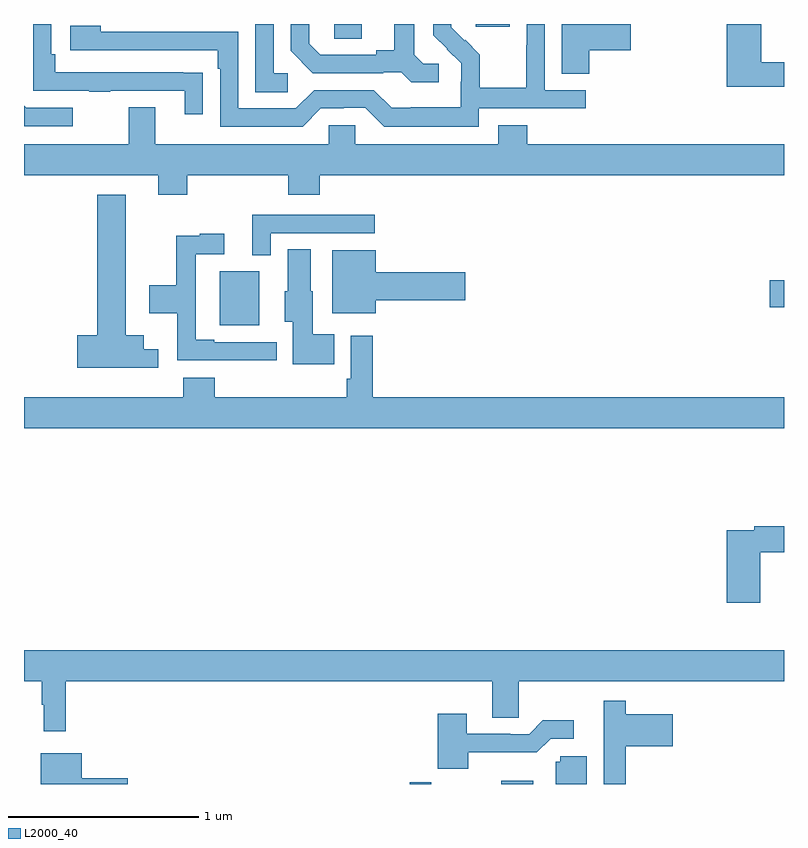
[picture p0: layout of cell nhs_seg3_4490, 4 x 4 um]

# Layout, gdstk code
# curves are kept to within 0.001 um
import gdstk
lib = gdstk.Library(unit=1e-6, precision=1e-09)
def R(c, l, rs):  # rectangles x0, y0, x1, y1
    for r in rs: c.add(gdstk.rectangle(r[:2], r[2:], *l))
def P(c, l, *ps):  # polygons
    for p in ps: c.add(gdstk.Polygon(p, *l))
L2000_40 = (2000, 40)

nhs_seg3_4490 = lib.new_cell('nhs_seg3_4490')
R(nhs_seg3_4490, L2000_40, [(353.031,676.4,353.143,676.408), (353.513,676.4,353.68,676.417), (352.031,678.815,352.237,679.099), (354.924,678.91,355,679.052), (352.632,680.323,352.777,680.4), (353.378,680.385,353.557,680.4)])
P(nhs_seg3_4490, L2000_40, [(353.394,679.956),(353.956,679.956),(353.956,680.052),(353.742,680.052),(353.742,680.4),(353.646,680.4),(353.646,680.288),(353.644,680.288),(353.644,680.065),(353.399,680.065),(353.399,680.239),(353.322,680.316),(353.319,680.313),(353.249,680.384),(353.249,680.4),(353.154,680.4),(353.154,680.342),(353.3,680.194),(353.3,680.097),(353.298,680.097),(353.298,679.963),(353.035,679.963),(353.035,679.959),(352.935,679.959),(352.842,680.052),(352.527,680.052),(352.431,679.956),(352.128,679.956),(352.128,680.358),(351.404,680.358),(351.404,680.392),(351.243,680.392),(351.243,680.262),(352.019,680.262),(352.019,680.165),(352.032,680.165),(352.032,679.86),(352.467,679.86),(352.563,679.956),(352.682,679.956),(352.682,679.959),(352.797,679.959),(352.897,679.859),(353.394,679.859)],
  [(352.387,680.142),(352.314,680.142),(352.314,680.4),(352.218,680.4),(352.218,680.041),(352.387,680.041)],
  [(351.941,680.144),(351.839,680.144),(351.839,680.145),(351.164,680.145),(351.164,680.242),(351.144,680.242),(351.144,680.4),(351.048,680.4),(351.048,680.049),(351.343,680.049),(351.343,680.044),(351.455,680.044),(351.455,680.049),(351.845,680.049),(351.845,679.926),(351.941,679.926)],
  [(353.182,680.19),(353.1,680.19),(353.053,680.237),(353.053,680.4),(352.949,680.4),(352.949,680.261),(352.853,680.261),(352.853,680.238),(352.558,680.238),(352.501,680.295),(352.501,680.4),(352.404,680.4),(352.404,680.258),(352.52,680.142),(352.892,680.142),(352.892,680.145),(352.986,680.145),(353.038,680.093),(353.182,680.093)],
  [(353.975,680.261),(354.193,680.261),(354.193,680.4),(353.831,680.4),(353.831,680.137),(353.975,680.137)],
  [(355,680.198),(354.881,680.198),(354.881,680.4),(354.698,680.4),(354.698,680.07),(355,680.07)],
  [(351.256,679.959),(351.012,679.959),(351,679.971),(351,679.863),(351.256,679.863)],
  [(351.86,679.604),(352.391,679.604),(352.391,679.502),(352.556,679.502),(352.556,679.604),(355,679.604),(355,679.768),(353.648,679.768),(353.648,679.867),(353.495,679.867),(353.495,679.768),(352.743,679.768),(352.743,679.866),(352.605,679.866),(352.605,679.768),(351.691,679.768),(351.691,679.963),(351.551,679.963),(351.551,679.768),(351,679.768),(351,679.604),(351.707,679.604),(351.707,679.502),(351.86,679.502)],
  [(351.706,678.689),(351.631,678.689),(351.631,678.761),(351.535,678.761),(351.535,679.501),(351.386,679.501),(351.386,678.761),(351.279,678.761),(351.279,678.59),(351.706,678.59)],
  [(352.299,679.299),(352.846,679.299),(352.846,679.395),(352.202,679.395),(352.202,679.184),(352.299,679.184)],
  [(352.33,678.726),(352,678.726),(352,678.739),(351.903,678.739),(351.903,679.188),(352.054,679.188),(352.054,679.297),(351.926,679.297),(351.926,679.286),(351.802,679.286),(351.802,679.026),(351.66,679.026),(351.66,678.878),(351.806,678.878),(351.806,678.63),(352.087,678.63),(352.087,678.629),(352.33,678.629)],
  [(352.634,678.766),(352.519,678.766),(352.519,678.993),(352.51,678.993),(352.51,679.214),(352.388,679.214),(352.388,678.993),(352.373,678.993),(352.373,678.834),(352.415,678.834),(352.415,678.608),(352.634,678.608)],
  [(352.852,678.947),(353.323,678.947),(353.323,679.094),(352.852,679.094),(352.852,679.21),(352.622,679.21),(352.622,678.878),(352.852,678.878)],
  [(355,678.436),(352.835,678.436),(352.835,678.76),(352.719,678.76),(352.719,678.532),(352.699,678.532),(352.699,678.436),(352.004,678.436),(352.004,678.538),(351.839,678.538),(351.839,678.436),(351,678.436),(351,678.272),(355,678.272)],
  [(354.876,677.62),(355,677.62),(355,677.756),(354.844,677.756),(354.844,677.736),(354.698,677.736),(354.698,677.355),(354.876,677.355)],
  [(351.221,676.94),(353.465,676.94),(353.465,676.75),(353.604,676.75),(353.604,676.94),(355,676.94),(355,677.104),(351,677.104),(351,676.94),(351.093,676.94),(351.093,676.817),(351.104,676.817),(351.104,676.677),(351.221,676.677)],
  [(354.167,676.598),(354.415,676.598),(354.415,676.768),(354.167,676.768),(354.167,676.837),(354.05,676.837),(354.05,676.614),(354.051,676.614),(354.051,676.4),(354.167,676.4)],
  [(353.337,676.566),(353.699,676.566),(353.772,676.638),(353.893,676.638),(353.893,676.735),(353.731,676.735),(353.658,676.662),(353.558,676.662),(353.558,676.665),(353.329,676.665),(353.329,676.771),(353.177,676.771),(353.177,676.481),(353.337,676.481)],
  [(351.547,676.43),(351.304,676.43),(351.304,676.561),(351.089,676.561),(351.089,676.4),(351.547,676.4)],
  [(353.962,676.545),(353.823,676.545),(353.823,676.518),(353.798,676.518),(353.798,676.4),(353.962,676.4)])

lib.write_gds('nhs_seg3_4490.gds')
